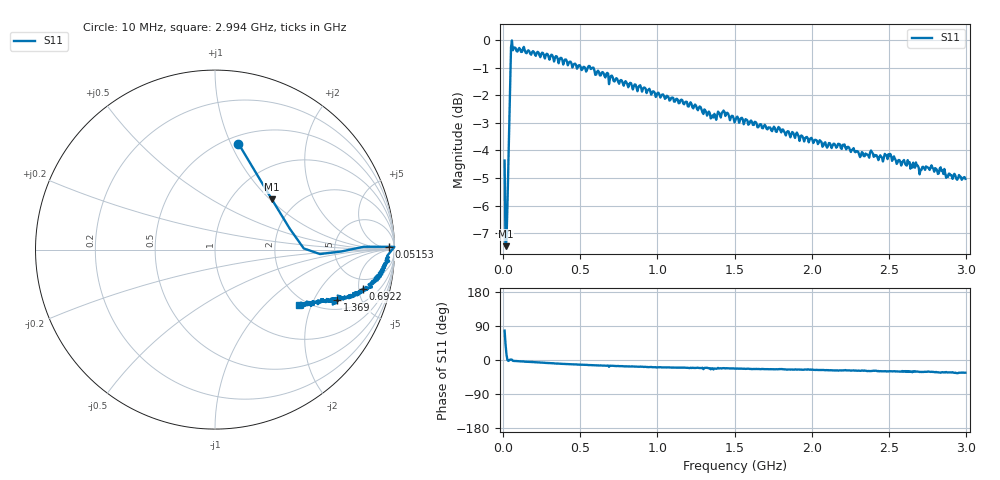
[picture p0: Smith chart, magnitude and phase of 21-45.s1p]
# HZ S RI R 50
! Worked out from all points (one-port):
!   504 points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, 10 MHz to 2.994 GHz, reference 50 ohm
!   lowest |S11| = -7.5 dB at 15.93 MHz (marker M1), VSWR 2.47, Z = 75 + j51.4 ohm
!   |S11| at or under -10 dB: nowhere
!   S11 on the Smith chart (normalised r, x): 10 MHz: 0.57, +1.07; 51.53 MHz: 52, +29; 692.2 MHz: 3.48, -5.54; 1.369 GHz: 2.56, -3.10; 2.994 GHz: 1.81, -1.63
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1e7  0.1306 0.5907
1.593254e7  0.3159 0.2813
2.186508e7  0.4169 0.1159
2.779762e7  0.4945 0.00649
3.373016e7  0.5848 -0.0248
3.96627e7  0.7017 -0.0109
4.559524e7  0.8289 0.0159
5.152778e7  0.9711 0.0158
5.746032e7  0.9992 0.0151
6.339286e7  0.9586 -0.0357
7.525794e7  0.9694 -0.0441
1.049206e8  0.9667 -0.058
3.8375e8  0.9072 -0.1585
5.26131e8  0.8727 -0.1966
5.735913e8  0.8641 -0.2072
6.922421e8  0.8233 -0.2182
7.575e8  0.8105 -0.2361
9.829366e8  0.7579 -0.2629
1.13125e9  0.7322 -0.2695
1.285496e9  0.6973 -0.2721
1.315159e9  0.693 -0.2628
1.368552e9  0.6806 -0.2787
1.43381e9  0.6889 -0.2736
1.505e9  0.6616 -0.2739
1.87875e9  0.6137 -0.2919
2.2525e9  0.5535 -0.2947
2.62625e9  0.5114 -0.3106
2.994068e9  0.4674 -0.3094
